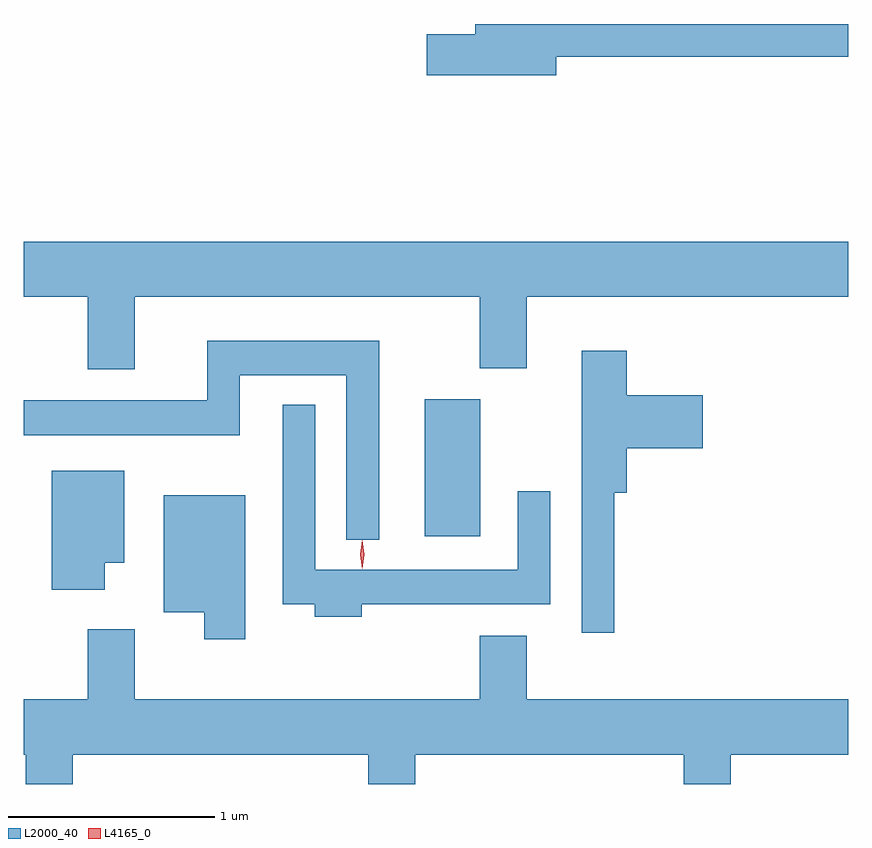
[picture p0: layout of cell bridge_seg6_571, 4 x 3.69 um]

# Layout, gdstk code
import gdstk
lib = gdstk.Library(unit=1e-6, precision=1e-09)
def R(c, l, rs):  # rectangles x0, y0, x1, y1
    for r in rs: c.add(gdstk.rectangle(r[:2], r[2:], *l))
def P(c, l, *ps):  # polygons
    for p in ps: c.add(gdstk.Polygon(p, *l))
L2000_40 = (2000, 40)
L4165_0 = (4165, 0)

bridge_seg6_571 = lib.new_cell('bridge_seg6_571')
R(bridge_seg6_571, L2000_40, [(489.796,1602.156,490.064,1602.819)])
P(bridge_seg6_571, L2000_40, [(490.434,1604.481),(491.85,1604.481),(491.85,1604.639),(490.041,1604.639),(490.041,1604.589),(489.806,1604.589),(489.806,1604.391),(490.434,1604.391)],
  [(488.389,1603.316),(490.061,1603.316),(490.061,1602.971),(490.289,1602.971),(490.289,1603.316),(491.85,1603.316),(491.85,1603.584),(487.85,1603.584),(487.85,1603.316),(488.161,1603.316),(488.161,1602.966),(488.389,1602.966)],
  [(489.574,1603.104),(488.741,1603.104),(488.741,1602.814),(487.85,1602.814),(487.85,1602.646),(488.899,1602.646),(488.899,1602.936),(489.416,1602.936),(489.416,1602.138),(489.574,1602.138)],
  [(490.714,1602.366),(490.774,1602.366),(490.774,1602.581),(491.144,1602.581),(491.144,1602.839),(490.774,1602.839),(490.774,1603.054),(490.556,1603.054),(490.556,1601.688),(490.714,1601.688)],
  [(489.489,1601.826),(490.404,1601.826),(490.404,1602.373),(490.246,1602.373),(490.246,1601.994),(489.264,1601.994),(489.264,1602.793),(489.106,1602.793),(489.106,1601.826),(489.261,1601.826),(489.261,1601.766),(489.489,1601.766)],
  [(488.244,1602.026),(488.339,1602.026),(488.339,1602.474),(487.986,1602.474),(487.986,1601.896),(488.244,1601.896)],
  [(488.924,1602.354),(488.531,1602.354),(488.531,1601.786),(488.726,1601.786),(488.726,1601.656),(488.924,1601.656)],
  [(488.089,1601.096),(489.521,1601.096),(489.521,1600.954),(489.749,1600.954),(489.749,1601.096),(491.051,1601.096),(491.051,1600.954),(491.279,1600.954),(491.279,1601.096),(491.85,1601.096),(491.85,1601.364),(490.289,1601.364),(490.289,1601.674),(490.061,1601.674),(490.061,1601.364),(488.389,1601.364),(488.389,1601.704),(488.161,1601.704),(488.161,1601.364),(487.85,1601.364),(487.85,1601.096),(487.861,1601.096),(487.861,1600.954),(488.089,1600.954)])
P(bridge_seg6_571, L4165_0, [(489.492,1602),(489.483,1602.066),(489.492,1602.133),(489.493,1602.133),(489.493,1602.133),(489.503,1602.066),(489.493,1602),(489.493,1602)],
  [(489.492,1601.997),(489.483,1602.067),(489.492,1602.136),(489.493,1602.136),(489.493,1602.136),(489.503,1602.067),(489.493,1601.997),(489.493,1601.997)])

lib.write_gds('bridge_seg6_571.gds')
